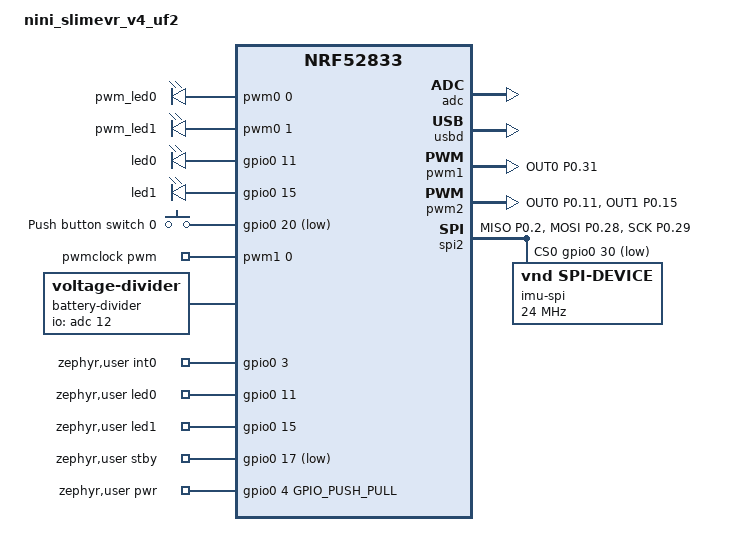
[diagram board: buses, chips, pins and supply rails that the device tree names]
// Copyright (c) 2024 Nordic Semiconductor ASA
// SPDX-License-Identifier: Apache-2.0

/dts-v1/;
#include <nordic/nrf52833_qdaa.dtsi>

//move to dtsi?

&pinctrl {
	spi2_default: spi2_default {
		group1 {
			psels = <NRF_PSEL(SPIM_MISO, 0, 2)>,
					<NRF_PSEL(SPIM_MOSI, 0, 28)>,
					<NRF_PSEL(SPIM_SCK, 0, 29)>;
		};
	};

	spi2_sleep: spi2_sleep {
		group1 {
			psels = <NRF_PSEL(SPIM_MISO, 0, 2)>,
					<NRF_PSEL(SPIM_MOSI, 0, 28)>,
					<NRF_PSEL(SPIM_SCK, 0, 29)>;
			low-power-enable;
		};
	};

	pwm1_default: pwm1_default {
		group1 {
			psels = <NRF_PSEL(PWM_OUT0, 0, 31)>;
		};
	};

	pwm1_sleep: pwm1_sleep {
		group1 {
			psels = <NRF_PIN_DISCONNECTED>;
			low-power-enable;
		};
	};

	pwm2_default: pwm2_default {
		group1 {
			/* RGB LED pins change later */
			psels = <NRF_PSEL(PWM_OUT0, 0, 11)>,
					<NRF_PSEL(PWM_OUT1, 0, 15)>;
		};
	};
	pwm2_sleep: pwm2_sleep {
		group1 {
			psels = <NRF_PIN_DISCONNECTED>;
			low-power-enable;
		};
	};
};

/ {
	model = "nini_slimevr_v4_uf2";
	compatible = "nini_slimevr_v4_uf2";

	chosen {
		zephyr,sram = &sram0;
		zephyr,flash = &flash0;
		zephyr,console = &cdc_acm_uart0;
		zephyr,shell-uart = &cdc_acm_uart0;
	};

	pwmleds {
		compatible = "pwm-leds";
		pwm_led0: pwm_led_0 {
			pwms = <&pwm0 0 PWM_MSEC(1) PWM_POLARITY_INVERTED>;
		};
		pwm_led1: pwm_led_1 {
			pwms = <&pwm0 1 PWM_MSEC(1) PWM_POLARITY_INVERTED>;
		};
	};
	leds {
		compatible = "gpio-leds";
		led0: led_0 {
			gpios = <&gpio0 11 GPIO_OPEN_SOURCE>;
		};
		led1: led_1 {
			gpios = <&gpio0 15 GPIO_OPEN_SOURCE>;
		};
	};

	buttons {
		compatible = "gpio-keys";
		button0: button_0 {
			gpios = <&gpio0 20 (GPIO_PULL_UP | GPIO_ACTIVE_LOW)>;
			label = "Push button switch 0";
		};
	};

	aliases {
		sw0 = &button0;
		led0 = &led0;
		led1 = &led1;
	};

	pwmclock: pwmclock {
		compatible = "pwm-clock";
		#clock-cells = <1>;
		pwms = <&pwm1 0 PWM_HZ(32768) PWM_POLARITY_NORMAL>;
	};

	battery-divider {
		compatible = "voltage-divider";
		status = "okay";
		io-channels = <&adc 12>; /* Measure VDDHDIV5 */
		output-ohms = <1>;
		full-ohms = <5>;
	};

	zephyr,user {
		int0-gpios = <&gpio0 3 0>;
		led0-gpios = <&gpio0 11 GPIO_OPEN_SOURCE>;
		led1-gpios = <&gpio0 15 GPIO_OPEN_SOURCE>;
		stby-gpios = <&gpio0 17 (GPIO_ACTIVE_LOW | GPIO_PULL_UP)>;
		pwr-gpios = <&gpio0 4 GPIO_PUSH_PULL>;
	};
};

&reg1 {
	regulator-initial-mode = <NRF5X_REG_MODE_LDO>;
};

&adc {
	status = "okay";
};

&gpiote {
	status = "okay";
};

&gpio0 {
	status = "okay";
};

&gpio1 {
	status = "okay";
};

zephyr_udc0: &usbd {
	compatible = "nordic,nrf-usbd";
	status = "okay";
	cdc_acm_uart0: cdc_acm_uart0 {
		compatible = "zephyr,cdc-acm-uart";
	};
};

&nfct {
	status = "disabled";
};

&pwm1 {
	status = "okay";
	pinctrl-0 = <&pwm1_default>;
	pinctrl-1 = <&pwm1_sleep>;
	pinctrl-names = "default", "sleep";
};

&pwm2 {
	status = "okay";
	pinctrl-0 = <&pwm2_default>;
	pinctrl-1 = <&pwm2_sleep>;
	pinctrl-names = "default", "sleep";
};

&spi2 {
	status = "okay";
	compatible = "nordic,nrf-spim";
	pinctrl-0 = <&spi2_default>;
	pinctrl-1 = <&spi2_sleep>;
	pinctrl-names = "default", "sleep";
	cs-gpios = <&gpio0 30 GPIO_ACTIVE_LOW>;

	imu_spi: imu@0 {
		compatible = "vnd,spi-device";
		spi-max-frequency = <DT_FREQ_M(24)>;
		label = "imu-spi";
		reg = <0>;
	};
};

